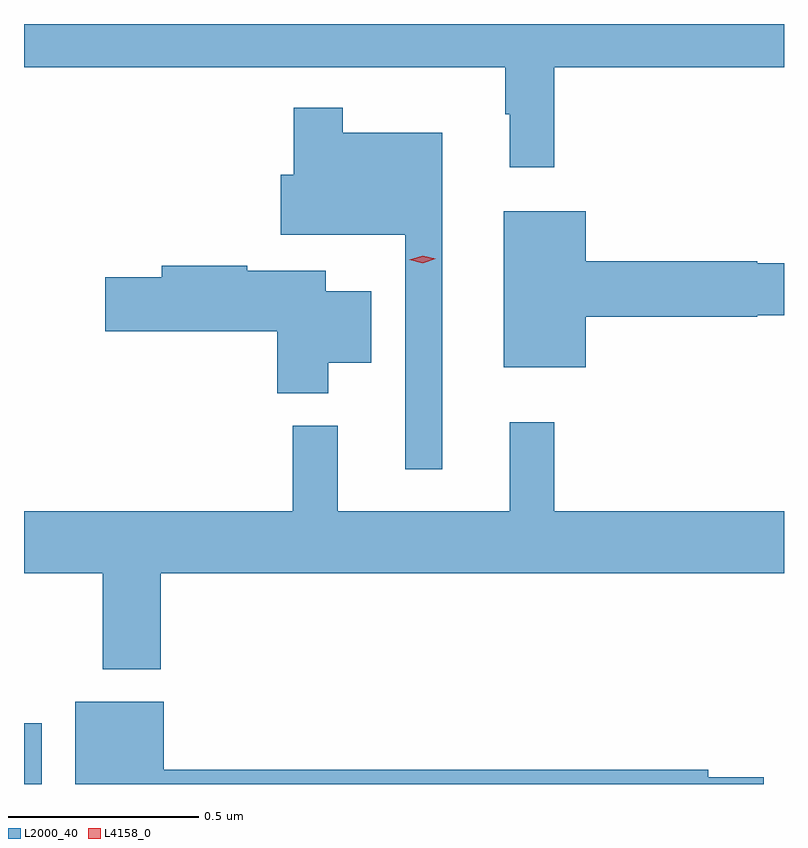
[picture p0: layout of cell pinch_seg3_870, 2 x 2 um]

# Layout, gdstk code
import gdstk
lib = gdstk.Library(unit=1e-6, precision=1e-09)
def R(c, l, rs):  # rectangles x0, y0, x1, y1
    for r in rs: c.add(gdstk.rectangle(r[:2], r[2:], *l))
def P(c, l, *ps):  # polygons
    for p in ps: c.add(gdstk.Polygon(p, *l))
L2000_40 = (2000, 40)
L4158_0 = (4158, 0)

pinch_seg3_870 = lib.new_cell('pinch_seg3_870')
R(pinch_seg3_870, L2000_40, [(693.704,683.046,693.751,683.206)])
P(pinch_seg3_870, L2000_40, [(695.099,684.932),(695.704,684.932),(695.704,685.046),(693.704,685.046),(693.704,684.932),(694.971,684.932),(694.971,684.809),(694.982,684.809),(694.982,684.669),(695.099,684.669)],
  [(694.804,684.76),(694.543,684.76),(694.543,684.826),(694.414,684.826),(694.414,684.649),(694.38,684.649),(694.38,684.491),(694.707,684.491),(694.707,683.874),(694.804,683.874)],
  [(695.182,684.275),(695.634,684.275),(695.634,684.28),(695.704,684.28),(695.704,684.416),(695.634,684.416),(695.634,684.422),(695.182,684.422),(695.182,684.553),(694.967,684.553),(694.967,684.143),(695.182,684.143)],
  [(694.504,684.155),(694.618,684.155),(694.618,684.343),(694.498,684.343),(694.498,684.397),(694.292,684.397),(694.292,684.41),(694.067,684.41),(694.067,684.38),(693.918,684.38),(693.918,684.238),(694.37,684.238),(694.37,684.074),(694.504,684.074)],
  [(694.064,683.6),(695.704,683.6),(695.704,683.764),(695.099,683.764),(695.099,683.998),(694.982,683.998),(694.982,683.764),(694.529,683.764),(694.529,683.989),(694.411,683.989),(694.411,683.764),(693.704,683.764),(693.704,683.6),(693.911,683.6),(693.911,683.348),(694.064,683.348)],
  [(695.651,683.064),(695.504,683.064),(695.504,683.084),(694.072,683.084),(694.072,683.263),(693.839,683.263),(693.839,683.046),(695.651,683.046)])
P(pinch_seg3_870, L4158_0, [(694.753,684.416),(694.718,684.425),(694.718,684.425),(694.718,684.425),(694.753,684.436),(694.788,684.428),(694.788,684.428),(694.788,684.428)])

lib.write_gds('pinch_seg3_870.gds')
